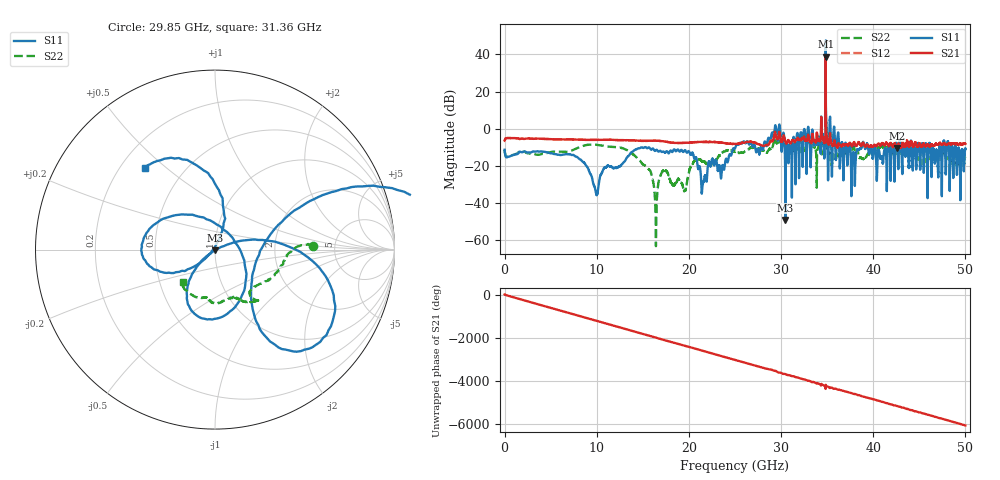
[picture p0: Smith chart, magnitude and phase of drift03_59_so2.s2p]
!Created with skrf (http://scikit-rf.org).
# Hz S RI R 50.0
!freq ReS11 ImS11 ReS21 ImS21 ReS12 ImS12 ReS22 ImS22
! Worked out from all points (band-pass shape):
!   10001 points, 300 kHz to 50 GHz, reference 50 ohm
!   highest |S21| = 38.75 dB at 34.85 GHz (marker M1); lowest = -10.3 dB at 42.55 GHz (marker M2)
!   |S21| within 3 dB of the highest: 34.84438 GHz to 34.84565 GHz (1.261 MHz wide, 0.00362 % of centre)
!   lowest |S11| = -49.2 dB at 30.47 GHz (marker M3), VSWR 1.01, Z = 49.9 - j0.33 ohm
!   |S11| at or under -10 dB: start of sweep to 15.23 GHz; 15.31 GHz to 25.05 GHz (9.737 GHz wide, 48.2 % of centre); 40.22 GHz to 41.62 GHz (1.393 GHz wide, 3.4 % of centre) (the widest 3 of 50)
!   |S22| runs from -63.3 to 29.8 dB; largest |S21 - S12| = 12
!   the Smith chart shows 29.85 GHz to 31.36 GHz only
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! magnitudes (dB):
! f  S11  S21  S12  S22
! 300 kHz  -11.4  -6.5  -6.5  -11.4
! 8.335 GHz  -17.1  -6.0  -6.0  -9.6
! 9.955 GHz  -35.7  -6.1  -6.1  -8.7
! 13.8 GHz  -12.6  -6.3  -6.3  -13.3
! 15.75 GHz  -10.4  -6.5  -6.5  -22.4
! 16.37 GHz  -11.9  -6.5  -6.5  -43.0
! 16.67 GHz  -12.4  -6.5  -6.5  -30.0
! 17.34 GHz  -12.7  -6.9  -6.9  -22.9
! 19.55 GHz  -11.6  -7.6  -7.7  -33.6
! 20.21 GHz  -13.8  -7.4  -7.5  -20.4
! 21.55 GHz  -28.7  -7.2  -7.2  -17.7
! 25 GHz  -10.6  -8.2  -8.2  -12.6
! 29.6 GHz  -5.5  -5.7  -5.9  -7.8
! 30.47 GHz  -49.2  -7.2  -7.2  -9.1
! 33.34 GHz  -3.7  -6.8  -6.7  -9.4
! 34.85 GHz  47.5  38.7  38.6  29.8
! 35.62 GHz  -7.2  -9.3  -9.1  -16.0
! 37.83 GHz  -12.6  -8.3  -8.4  -9.9
! 38.81 GHz  -8.8  -8.2  -8.2  -16.2
! 41.67 GHz  -9.2  -9.3  -9.3  -11.3
! 42.55 GHz  -8.5  -10.3  -10.4  -13.3
! 50 GHz  -10.7  -8.2  -8.2  -15.4
